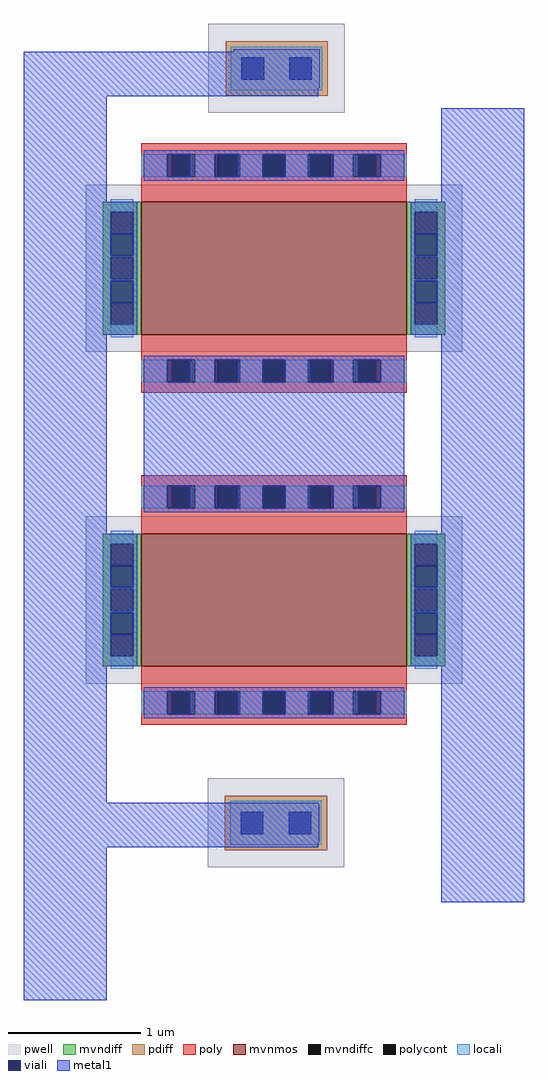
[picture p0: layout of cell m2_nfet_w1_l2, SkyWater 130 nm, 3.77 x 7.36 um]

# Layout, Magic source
magic
tech sky130A
magscale 1 2
<< pdiff >>
rect -347 552 -193 634
rect -348 -585 -194 -503
<< metal1 >>
rect -651 551 -207 618
rect -651 -514 -526 551
rect -470 -30 -78 114
rect -651 -581 -207 -514
rect -651 -811 -526 -581
rect -22 -664 103 533
use sky130_fd_pr__nfet_g5v0d10v5_DPU6YB  sky130_fd_pr__nfet_g5v0d10v5_DPU6YB_0
array 0 0 0 0 1 500
transform 1 0 -274 0 1 -208
box -284 -188 284 188
use contact$3  contact$3_0
transform 1 0 -270 0 1 593
box -69 -33 69 33
use contact$2  contact$2_0
transform 1 0 -270 0 1 593
box -103 -67 103 67
use contact$3  contact$3_1
transform 1 0 -271 0 1 -544
box -69 -33 69 33
use contact$2  contact$2_1
transform 1 0 -271 0 1 -544
box -103 -67 103 67
<< end >>

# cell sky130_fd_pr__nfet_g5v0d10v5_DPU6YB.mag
magic
tech sky130A
magscale 1 2
<< pwell >>
rect -284 -126 284 126
<< mvnmos >>
rect -200 -100 200 100
<< mvndiff >>
rect -258 85 -200 100
rect -258 51 -246 85
rect -212 51 -200 85
rect -258 17 -200 51
rect -258 -17 -246 17
rect -212 -17 -200 17
rect -258 -51 -200 -17
rect -258 -85 -246 -51
rect -212 -85 -200 -51
rect -258 -100 -200 -85
rect 200 85 258 100
rect 200 51 212 85
rect 246 51 258 85
rect 200 17 258 51
rect 200 -17 212 17
rect 246 -17 258 17
rect 200 -51 258 -17
rect 200 -85 212 -51
rect 246 -85 258 -51
rect 200 -100 258 -85
<< mvndiffc >>
rect -246 51 -212 85
rect -246 -17 -212 17
rect -246 -85 -212 -51
rect 212 51 246 85
rect 212 -17 246 17
rect 212 -85 246 -51
<< poly >>
rect -200 172 200 188
rect -200 138 -153 172
rect -119 138 -85 172
rect -51 138 -17 172
rect 17 138 51 172
rect 85 138 119 172
rect 153 138 200 172
rect -200 100 200 138
rect -200 -138 200 -100
rect -200 -172 -153 -138
rect -119 -172 -85 -138
rect -51 -172 -17 -138
rect 17 -172 51 -138
rect 85 -172 119 -138
rect 153 -172 200 -138
rect -200 -188 200 -172
<< polycont >>
rect -153 138 -119 172
rect -85 138 -51 172
rect -17 138 17 172
rect 51 138 85 172
rect 119 138 153 172
rect -153 -172 -119 -138
rect -85 -172 -51 -138
rect -17 -172 17 -138
rect 51 -172 85 -138
rect 119 -172 153 -138
<< locali >>
rect -200 138 -161 172
rect -119 138 -89 172
rect -51 138 -17 172
rect 17 138 51 172
rect 89 138 119 172
rect 161 138 200 172
rect -246 85 -212 104
rect -246 17 -212 19
rect -246 -19 -212 -17
rect -246 -104 -212 -85
rect 212 85 246 104
rect 212 17 246 19
rect 212 -19 246 -17
rect 212 -104 246 -85
rect -200 -172 -161 -138
rect -119 -172 -89 -138
rect -51 -172 -17 -138
rect 17 -172 51 -138
rect 89 -172 119 -138
rect 161 -172 200 -138
<< viali >>
rect -161 138 -153 172
rect -153 138 -127 172
rect -89 138 -85 172
rect -85 138 -55 172
rect -17 138 17 172
rect 55 138 85 172
rect 85 138 89 172
rect 127 138 153 172
rect 153 138 161 172
rect -246 51 -212 53
rect -246 19 -212 51
rect -246 -51 -212 -19
rect -246 -53 -212 -51
rect 212 51 246 53
rect 212 19 246 51
rect 212 -51 246 -19
rect 212 -53 246 -51
rect -161 -172 -153 -138
rect -153 -172 -127 -138
rect -89 -172 -85 -138
rect -85 -172 -55 -138
rect -17 -172 17 -138
rect 55 -172 85 -138
rect 85 -172 89 -138
rect 127 -172 153 -138
rect 153 -172 161 -138
<< metal1 >>
rect -196 172 196 178
rect -196 138 -161 172
rect -127 138 -89 172
rect -55 138 -17 172
rect 17 138 55 172
rect 89 138 127 172
rect 161 138 196 172
rect -196 132 196 138
rect -252 53 -206 100
rect -252 19 -246 53
rect -212 19 -206 53
rect -252 -19 -206 19
rect -252 -53 -246 -19
rect -212 -53 -206 -19
rect -252 -100 -206 -53
rect 206 53 252 100
rect 206 19 212 53
rect 246 19 252 53
rect 206 -19 252 19
rect 206 -53 212 -19
rect 246 -53 252 -19
rect 206 -100 252 -53
rect -196 -138 196 -132
rect -196 -172 -161 -138
rect -127 -172 -89 -138
rect -55 -172 -17 -138
rect 17 -172 55 -138
rect 89 -172 127 -138
rect 161 -172 196 -138
rect -196 -178 196 -172
<< end >>

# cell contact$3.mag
magic
tech sky130A
magscale 1 2
<< locali >>
rect -69 17 69 33
rect -69 -17 -53 17
rect -19 -17 19 17
rect 53 -17 69 17
rect -69 -33 69 -17
<< viali >>
rect -53 -17 -19 17
rect 19 -17 53 17
<< metal1 >>
rect -65 17 65 29
rect -65 -17 -53 17
rect -19 -17 19 17
rect 53 -17 65 17
rect -65 -29 65 -17
<< end >>

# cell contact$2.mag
magic
tech sky130A
magscale 1 2
<< pwell >>
rect -103 -67 103 67
<< locali >>
rect -69 -33 69 33
<< end >>
